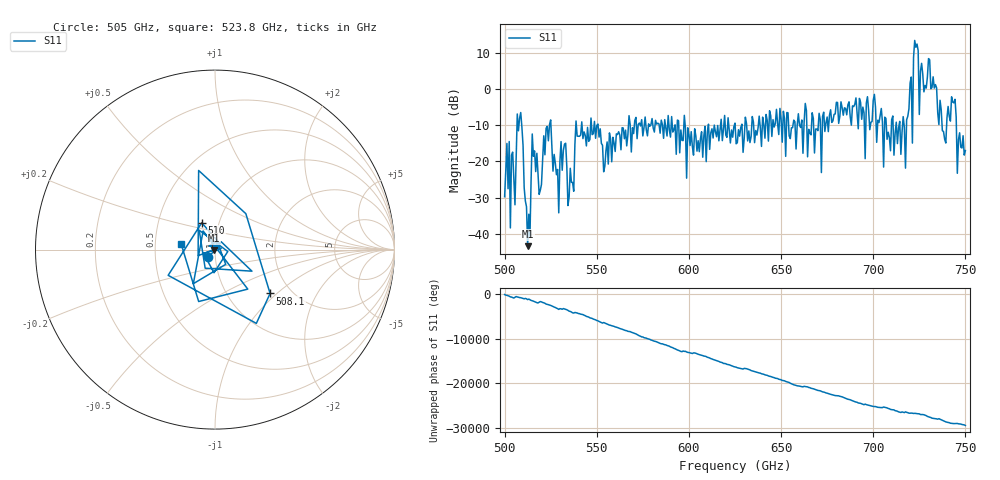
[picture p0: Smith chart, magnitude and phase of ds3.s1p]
# GHz S RI R 50
!freq	ReS11	ImS11
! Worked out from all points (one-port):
!   401 points, 500 GHz to 750 GHz, reference 50 ohm
!   lowest |S11| = -43.4 dB at 512.5 GHz (marker M1), VSWR 1.01, Z = 49.5 - j0.487 ohm
!   |S11| at or under -10 dB: 509.3 GHz to 524.4 GHz (15.06 GHz wide, 2.91 % of centre); 525.1 GHz to 538.6 GHz (13.52 GHz wide, 2.54 % of centre); 550.7 GHz to 567.2 GHz (16.52 GHz wide, 2.96 % of centre) (the widest 3 of 64)
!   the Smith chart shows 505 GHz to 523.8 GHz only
!   S11 on the Smith chart (normalised r, x): 505 GHz: 0.92, -0.07; 508.1 GHz: 1.57, -0.91; 510 GHz: 0.83, +0.25; 523.8 GHz: 0.68, +0.05
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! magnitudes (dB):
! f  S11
! 500 GHz  -29.8
! 505 GHz  -24.7
! 508.1 GHz  -8.1
! 510 GHz  -15.6
! 512.5 GHz  -43.4
! 516.2 GHz  -17.1
! 519.4 GHz  -28.0
! 523.8 GHz  -14.3
! 528.1 GHz  -23.7
! 531.2 GHz  -22.5
! 535.6 GHz  -21.9
! 540 GHz  -13.1
! 550 GHz  -10.1
! 555 GHz  -17.0
! 562.5 GHz  -12.7
! 593.8 GHz  -8.6
! 625 GHz  -9.5
! 656.2 GHz  -10.7
! 687.5 GHz  -7.7
! 716.2 GHz  -7.7
! 718.8 GHz  -7.6
! 723.1 GHz  11.5
! 726.2 GHz  7.0
! 731.2 GHz  0.0
! 738.1 GHz  -11.8
! 743.8 GHz  -3.9
! 746.9 GHz  -12.1
! 750 GHz  -17.0
